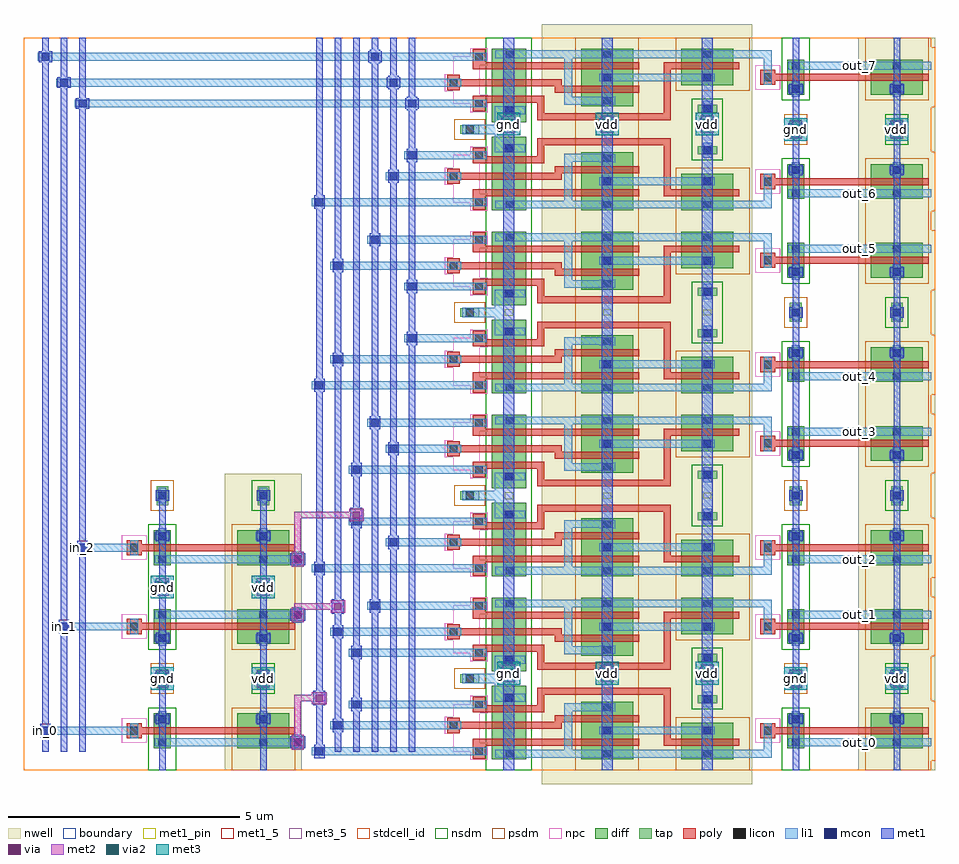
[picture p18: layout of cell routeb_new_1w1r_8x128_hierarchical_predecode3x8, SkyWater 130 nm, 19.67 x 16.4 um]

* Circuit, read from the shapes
.subckt routeb_new_1w1r_8x128_hierarchical_predecode3x8 gnd in_0 in_1 in_2 out_0 out_1 out_2 out_3 out_4 out_5 out_6 out_7 vdd
XM1 gnd in_0 routeb_new_1w1r_8x128_and3_dec_3/A gnd sky130_fd_pr__nfet_01v8 w=0.36 l=0.15
XM2 routeb_new_1w1r_8x128_and3_dec_3/B in_1 gnd gnd sky130_fd_pr__nfet_01v8 w=0.36 l=0.15
XM3 gnd in_2 routeb_new_1w1r_8x128_and3_dec_3/C gnd sky130_fd_pr__nfet_01v8 w=0.36 l=0.15
XM4 n1 routeb_new_1w1r_8x128_and3_dec_3/A routeb_new_1w1r_8x128_and3_dec_3/routeb_new_1w1r_8x128_pinv_dec_1/A gnd sky130_fd_pr__nfet_01v8 w=0.74 l=0.15
XM5 n2 routeb_new_1w1r_8x128_and3_dec_3/B n1 gnd sky130_fd_pr__nfet_01v8 w=0.74 l=0.15
XM6 gnd routeb_new_1w1r_8x128_and3_dec_3/C n2 gnd sky130_fd_pr__nfet_01v8 w=0.74 l=0.15
XM7 n3 routeb_new_1w1r_8x128_and3_dec_3/C gnd gnd sky130_fd_pr__nfet_01v8 w=0.74 l=0.15
XM8 n4 routeb_new_1w1r_8x128_and3_dec_3/B n3 gnd sky130_fd_pr__nfet_01v8 w=0.74 l=0.15
XM9 routeb_new_1w1r_8x128_and3_dec_4/routeb_new_1w1r_8x128_pinv_dec_1/A in_0 n4 gnd sky130_fd_pr__nfet_01v8 w=0.74 l=0.15
XM10 n5 routeb_new_1w1r_8x128_and3_dec_3/A routeb_new_1w1r_8x128_and3_dec_5/routeb_new_1w1r_8x128_pinv_dec_1/A gnd sky130_fd_pr__nfet_01v8 w=0.74 l=0.15
XM11 n6 in_1 n5 gnd sky130_fd_pr__nfet_01v8 w=0.74 l=0.15
XM12 gnd routeb_new_1w1r_8x128_and3_dec_3/C n6 gnd sky130_fd_pr__nfet_01v8 w=0.74 l=0.15
XM13 n7 routeb_new_1w1r_8x128_and3_dec_3/C gnd gnd sky130_fd_pr__nfet_01v8 w=0.74 l=0.15
XM14 n8 in_1 n7 gnd sky130_fd_pr__nfet_01v8 w=0.74 l=0.15
XM15 routeb_new_1w1r_8x128_and3_dec_6/routeb_new_1w1r_8x128_pinv_dec_1/A in_0 n8 gnd sky130_fd_pr__nfet_01v8 w=0.74 l=0.15
XM16 n9 routeb_new_1w1r_8x128_and3_dec_3/A routeb_new_1w1r_8x128_and3_dec_7/routeb_new_1w1r_8x128_pinv_dec_1/A gnd sky130_fd_pr__nfet_01v8 w=0.74 l=0.15
XM17 n10 routeb_new_1w1r_8x128_and3_dec_3/B n9 gnd sky130_fd_pr__nfet_01v8 w=0.74 l=0.15
XM18 gnd in_2 n10 gnd sky130_fd_pr__nfet_01v8 w=0.74 l=0.15
XM19 n11 in_2 gnd gnd sky130_fd_pr__nfet_01v8 w=0.74 l=0.15
XM20 n12 routeb_new_1w1r_8x128_and3_dec_3/B n11 gnd sky130_fd_pr__nfet_01v8 w=0.74 l=0.15
XM21 routeb_new_1w1r_8x128_and3_dec_8/routeb_new_1w1r_8x128_pinv_dec_1/A in_0 n12 gnd sky130_fd_pr__nfet_01v8 w=0.74 l=0.15
XM22 n13 routeb_new_1w1r_8x128_and3_dec_3/A routeb_new_1w1r_8x128_and3_dec_9/routeb_new_1w1r_8x128_pinv_dec_1/A gnd sky130_fd_pr__nfet_01v8 w=0.74 l=0.15
XM23 n14 in_1 n13 gnd sky130_fd_pr__nfet_01v8 w=0.74 l=0.15
XM24 gnd in_2 n14 gnd sky130_fd_pr__nfet_01v8 w=0.74 l=0.15
XM25 n15 in_2 gnd gnd sky130_fd_pr__nfet_01v8 w=0.74 l=0.15
XM26 n16 in_1 n15 gnd sky130_fd_pr__nfet_01v8 w=0.74 l=0.15
XM27 routeb_new_1w1r_8x128_and3_dec_10/routeb_new_1w1r_8x128_pinv_dec_1/A in_0 n16 gnd sky130_fd_pr__nfet_01v8 w=0.74 l=0.15
XM28 gnd routeb_new_1w1r_8x128_and3_dec_3/routeb_new_1w1r_8x128_pinv_dec_1/A out_0 gnd sky130_fd_pr__nfet_01v8 w=0.36 l=0.15
XM29 out_1 routeb_new_1w1r_8x128_and3_dec_4/routeb_new_1w1r_8x128_pinv_dec_1/A gnd gnd sky130_fd_pr__nfet_01v8 w=0.36 l=0.15
XM30 gnd routeb_new_1w1r_8x128_and3_dec_5/routeb_new_1w1r_8x128_pinv_dec_1/A out_2 gnd sky130_fd_pr__nfet_01v8 w=0.36 l=0.15
XM31 out_3 routeb_new_1w1r_8x128_and3_dec_6/routeb_new_1w1r_8x128_pinv_dec_1/A gnd gnd sky130_fd_pr__nfet_01v8 w=0.36 l=0.15
XM32 gnd routeb_new_1w1r_8x128_and3_dec_7/routeb_new_1w1r_8x128_pinv_dec_1/A out_4 gnd sky130_fd_pr__nfet_01v8 w=0.36 l=0.15
XM33 out_5 routeb_new_1w1r_8x128_and3_dec_8/routeb_new_1w1r_8x128_pinv_dec_1/A gnd gnd sky130_fd_pr__nfet_01v8 w=0.36 l=0.15
XM34 gnd routeb_new_1w1r_8x128_and3_dec_9/routeb_new_1w1r_8x128_pinv_dec_1/A out_6 gnd sky130_fd_pr__nfet_01v8 w=0.36 l=0.15
XM35 out_7 routeb_new_1w1r_8x128_and3_dec_10/routeb_new_1w1r_8x128_pinv_dec_1/A gnd gnd sky130_fd_pr__nfet_01v8 w=0.36 l=0.15
XM36 vdd in_0 routeb_new_1w1r_8x128_and3_dec_3/A vdd sky130_fd_pr__pfet_01v8 w=1.12 l=0.15
XM37 routeb_new_1w1r_8x128_and3_dec_3/B in_1 vdd vdd sky130_fd_pr__pfet_01v8 w=1.12 l=0.15
XM38 vdd in_2 routeb_new_1w1r_8x128_and3_dec_3/C vdd sky130_fd_pr__pfet_01v8 w=1.12 l=0.15
XM39 vdd routeb_new_1w1r_8x128_and3_dec_3/A routeb_new_1w1r_8x128_and3_dec_3/routeb_new_1w1r_8x128_pinv_dec_1/A vdd sky130_fd_pr__pfet_01v8 w=1.12 l=0.15
XM40 routeb_new_1w1r_8x128_and3_dec_3/routeb_new_1w1r_8x128_pinv_dec_1/A routeb_new_1w1r_8x128_and3_dec_3/B vdd vdd sky130_fd_pr__pfet_01v8 w=1.12 l=0.15
XM41 vdd routeb_new_1w1r_8x128_and3_dec_3/B routeb_new_1w1r_8x128_and3_dec_4/routeb_new_1w1r_8x128_pinv_dec_1/A vdd sky130_fd_pr__pfet_01v8 w=1.12 l=0.15
XM42 routeb_new_1w1r_8x128_and3_dec_4/routeb_new_1w1r_8x128_pinv_dec_1/A in_0 vdd vdd sky130_fd_pr__pfet_01v8 w=1.12 l=0.15
XM43 vdd routeb_new_1w1r_8x128_and3_dec_3/A routeb_new_1w1r_8x128_and3_dec_5/routeb_new_1w1r_8x128_pinv_dec_1/A vdd sky130_fd_pr__pfet_01v8 w=1.12 l=0.15
XM44 routeb_new_1w1r_8x128_and3_dec_5/routeb_new_1w1r_8x128_pinv_dec_1/A in_1 vdd vdd sky130_fd_pr__pfet_01v8 w=1.12 l=0.15
XM45 vdd in_1 routeb_new_1w1r_8x128_and3_dec_6/routeb_new_1w1r_8x128_pinv_dec_1/A vdd sky130_fd_pr__pfet_01v8 w=1.12 l=0.15
XM46 routeb_new_1w1r_8x128_and3_dec_6/routeb_new_1w1r_8x128_pinv_dec_1/A in_0 vdd vdd sky130_fd_pr__pfet_01v8 w=1.12 l=0.15
XM47 vdd routeb_new_1w1r_8x128_and3_dec_3/A routeb_new_1w1r_8x128_and3_dec_7/routeb_new_1w1r_8x128_pinv_dec_1/A vdd sky130_fd_pr__pfet_01v8 w=1.12 l=0.15
XM48 routeb_new_1w1r_8x128_and3_dec_7/routeb_new_1w1r_8x128_pinv_dec_1/A routeb_new_1w1r_8x128_and3_dec_3/B vdd vdd sky130_fd_pr__pfet_01v8 w=1.12 l=0.15
XM49 vdd routeb_new_1w1r_8x128_and3_dec_3/B routeb_new_1w1r_8x128_and3_dec_8/routeb_new_1w1r_8x128_pinv_dec_1/A vdd sky130_fd_pr__pfet_01v8 w=1.12 l=0.15
XM50 routeb_new_1w1r_8x128_and3_dec_8/routeb_new_1w1r_8x128_pinv_dec_1/A in_0 vdd vdd sky130_fd_pr__pfet_01v8 w=1.12 l=0.15
XM51 vdd routeb_new_1w1r_8x128_and3_dec_3/A routeb_new_1w1r_8x128_and3_dec_9/routeb_new_1w1r_8x128_pinv_dec_1/A vdd sky130_fd_pr__pfet_01v8 w=1.12 l=0.15
XM52 routeb_new_1w1r_8x128_and3_dec_9/routeb_new_1w1r_8x128_pinv_dec_1/A in_1 vdd vdd sky130_fd_pr__pfet_01v8 w=1.12 l=0.15
XM53 vdd in_1 routeb_new_1w1r_8x128_and3_dec_10/routeb_new_1w1r_8x128_pinv_dec_1/A vdd sky130_fd_pr__pfet_01v8 w=1.12 l=0.15
XM54 routeb_new_1w1r_8x128_and3_dec_10/routeb_new_1w1r_8x128_pinv_dec_1/A in_0 vdd vdd sky130_fd_pr__pfet_01v8 w=1.12 l=0.15
XM55 vdd routeb_new_1w1r_8x128_and3_dec_3/C routeb_new_1w1r_8x128_and3_dec_3/routeb_new_1w1r_8x128_pinv_dec_1/A vdd sky130_fd_pr__pfet_01v8 w=1.12 l=0.15
XM56 routeb_new_1w1r_8x128_and3_dec_4/routeb_new_1w1r_8x128_pinv_dec_1/A routeb_new_1w1r_8x128_and3_dec_3/C vdd vdd sky130_fd_pr__pfet_01v8 w=1.12 l=0.15
XM57 vdd routeb_new_1w1r_8x128_and3_dec_3/C routeb_new_1w1r_8x128_and3_dec_5/routeb_new_1w1r_8x128_pinv_dec_1/A vdd sky130_fd_pr__pfet_01v8 w=1.12 l=0.15
XM58 routeb_new_1w1r_8x128_and3_dec_6/routeb_new_1w1r_8x128_pinv_dec_1/A routeb_new_1w1r_8x128_and3_dec_3/C vdd vdd sky130_fd_pr__pfet_01v8 w=1.12 l=0.15
XM59 vdd in_2 routeb_new_1w1r_8x128_and3_dec_7/routeb_new_1w1r_8x128_pinv_dec_1/A vdd sky130_fd_pr__pfet_01v8 w=1.12 l=0.15
XM60 routeb_new_1w1r_8x128_and3_dec_8/routeb_new_1w1r_8x128_pinv_dec_1/A in_2 vdd vdd sky130_fd_pr__pfet_01v8 w=1.12 l=0.15
XM61 vdd in_2 routeb_new_1w1r_8x128_and3_dec_9/routeb_new_1w1r_8x128_pinv_dec_1/A vdd sky130_fd_pr__pfet_01v8 w=1.12 l=0.15
XM62 routeb_new_1w1r_8x128_and3_dec_10/routeb_new_1w1r_8x128_pinv_dec_1/A in_2 vdd vdd sky130_fd_pr__pfet_01v8 w=1.12 l=0.15
XM63 vdd routeb_new_1w1r_8x128_and3_dec_3/routeb_new_1w1r_8x128_pinv_dec_1/A out_0 vdd sky130_fd_pr__pfet_01v8 w=1.12 l=0.15
XM64 out_1 routeb_new_1w1r_8x128_and3_dec_4/routeb_new_1w1r_8x128_pinv_dec_1/A vdd vdd sky130_fd_pr__pfet_01v8 w=1.12 l=0.15
XM65 vdd routeb_new_1w1r_8x128_and3_dec_5/routeb_new_1w1r_8x128_pinv_dec_1/A out_2 vdd sky130_fd_pr__pfet_01v8 w=1.12 l=0.15
XM66 out_3 routeb_new_1w1r_8x128_and3_dec_6/routeb_new_1w1r_8x128_pinv_dec_1/A vdd vdd sky130_fd_pr__pfet_01v8 w=1.12 l=0.15
XM67 vdd routeb_new_1w1r_8x128_and3_dec_7/routeb_new_1w1r_8x128_pinv_dec_1/A out_4 vdd sky130_fd_pr__pfet_01v8 w=1.12 l=0.15
XM68 out_5 routeb_new_1w1r_8x128_and3_dec_8/routeb_new_1w1r_8x128_pinv_dec_1/A vdd vdd sky130_fd_pr__pfet_01v8 w=1.12 l=0.15
XM69 vdd routeb_new_1w1r_8x128_and3_dec_9/routeb_new_1w1r_8x128_pinv_dec_1/A out_6 vdd sky130_fd_pr__pfet_01v8 w=1.12 l=0.15
XM70 out_7 routeb_new_1w1r_8x128_and3_dec_10/routeb_new_1w1r_8x128_pinv_dec_1/A vdd vdd sky130_fd_pr__pfet_01v8 w=1.12 l=0.15
.ends

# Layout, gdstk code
from math import pi, radians
import gdstk
lib = gdstk.Library(unit=1e-6, precision=1e-09)
def R(c, l, rs):  # rectangles x0, y0, x1, y1
    for r in rs: c.add(gdstk.rectangle(r[:2], r[2:], *l))
def A(c, l, x, y, w, h, nx, ny, dx, dy):  # array of equal rectangles
    R(c, l, [(x+i*dx, y+j*dy, x+i*dx+w, y+j*dy+h) for i in range(nx) for j in range(ny)])
nwell = (64, 20)
diff = (65, 20)
tap = (65, 44)
poly = (66, 20)
licon = (66, 44)
li1 = (67, 20)
mcon = (67, 44)
met1_5 = (68, 5)
met1_pin = (68, 16)
met1 = (68, 20)
via = (68, 44)
met2 = (69, 20)
via2 = (69, 44)
met3_5 = (70, 5)
met3 = (70, 20)
stdcell_id = (81, 4)
nsdm = (93, 44)
psdm = (94, 20)
npc = (95, 20)
boundary = (235, 4)

routeb_new_1w1r_8x128_co = lib.new_cell('routeb_new_1w1r_8x128_contact_11')
R(routeb_new_1w1r_8x128_co, nwell, [(-0.295,-0.255,0.545,0.585)])
R(routeb_new_1w1r_8x128_co, diff, [(0,0.02,0.25,0.31)])
R(routeb_new_1w1r_8x128_co, licon, [(0.04,0.08,0.21,0.25)])
R(routeb_new_1w1r_8x128_co, li1, [(0.04,0,0.21,0.33)])
R(routeb_new_1w1r_8x128_co, stdcell_id, [(-0.295,-0.255,0.545,0.585)])
R(routeb_new_1w1r_8x128_co, psdm, [(-0.125,-0.105,0.375,0.435)])
R(routeb_new_1w1r_8x128_co, boundary, [(-0.295,-0.255,0.545,0.585)])

routeb_new_1w1r_8x128_pm = lib.new_cell('routeb_new_1w1r_8x128_pmos_m1_w1_120_sli_dli_da_p')
R(routeb_new_1w1r_8x128_pm, nwell, [(-0.27,-0.27,1.02,1.39)])
R(routeb_new_1w1r_8x128_pm, diff, [(0,0,0.75,1.12)])
R(routeb_new_1w1r_8x128_pm, poly, [(0.3,-0.13,0.45,1.25), (0.3,-0.13,0.45,1.25)])
R(routeb_new_1w1r_8x128_pm, li1, [(0.04,0.395,0.21,0.725), (0.54,0.395,0.71,0.725)])
R(routeb_new_1w1r_8x128_pm, stdcell_id, [(-0.27,-0.27,1.02,1.39)])
R(routeb_new_1w1r_8x128_pm, psdm, [(-0.125,-0.125,0.875,1.245)])
R(routeb_new_1w1r_8x128_pm, boundary, [(-0.27,-0.27,1.02,1.39)])
routeb_new_1w1r_8x128_pm.add(gdstk.Reference(routeb_new_1w1r_8x128_co, (0,0.395)))
routeb_new_1w1r_8x128_pm.add(gdstk.Reference(routeb_new_1w1r_8x128_co, (0.5,0.395)))
routeb_new_1w1r_8x128_pm.add(gdstk.Label('G', (0.375,0.56), layer=66, texttype=5))
routeb_new_1w1r_8x128_pm.add(gdstk.Label('S', (0.125,0.56), layer=67, texttype=5))
routeb_new_1w1r_8x128_pm.add(gdstk.Label('D', (0.625,0.56), layer=67, texttype=5))

c_routeb_new_1w1r_8x128_co = lib.new_cell('routeb_new_1w1r_8x128_contact_10')
R(c_routeb_new_1w1r_8x128_co, diff, [(0,0.02,0.25,0.31)])
R(c_routeb_new_1w1r_8x128_co, licon, [(0.04,0.08,0.21,0.25)])
R(c_routeb_new_1w1r_8x128_co, li1, [(0.04,0,0.21,0.33)])
R(c_routeb_new_1w1r_8x128_co, stdcell_id, [(-0.125,-0.105,0.375,0.435)])
R(c_routeb_new_1w1r_8x128_co, nsdm, [(-0.125,-0.105,0.375,0.435)])
R(c_routeb_new_1w1r_8x128_co, boundary, [(-0.125,-0.105,0.375,0.435)])

routeb_new_1w1r_8x128_nm = lib.new_cell('routeb_new_1w1r_8x128_nmos_m1_w0_360_sli_dli_da_p')
R(routeb_new_1w1r_8x128_nm, diff, [(0,0,0.75,0.36)])
R(routeb_new_1w1r_8x128_nm, poly, [(0.3,-0.13,0.45,0.49), (0.3,-0.13,0.45,0.49)])
R(routeb_new_1w1r_8x128_nm, li1, [(0.04,0.015,0.21,0.345), (0.54,0.015,0.71,0.345)])
R(routeb_new_1w1r_8x128_nm, stdcell_id, [(-0.125,-0.13,0.875,0.49)])
R(routeb_new_1w1r_8x128_nm, nsdm, [(-0.125,-0.125,0.875,0.485)])
R(routeb_new_1w1r_8x128_nm, boundary, [(-0.125,-0.13,0.875,0.49)])
routeb_new_1w1r_8x128_nm.add(gdstk.Reference(c_routeb_new_1w1r_8x128_co, (0,0.015)))
routeb_new_1w1r_8x128_nm.add(gdstk.Reference(c_routeb_new_1w1r_8x128_co, (0.5,0.015)))
routeb_new_1w1r_8x128_nm.add(gdstk.Label('G', (0.375,0.18), layer=66, texttype=5))
routeb_new_1w1r_8x128_nm.add(gdstk.Label('S', (0.125,0.18), layer=67, texttype=5))
routeb_new_1w1r_8x128_nm.add(gdstk.Label('D', (0.625,0.18), layer=67, texttype=5))

c_routeb_new_1w1r_8x128_co_ = lib.new_cell('routeb_new_1w1r_8x128_contact_12')
R(c_routeb_new_1w1r_8x128_co_, nwell, [(-0.295,-0.215,0.545,0.625)])
R(c_routeb_new_1w1r_8x128_co_, tap, [(0,0,0.25,0.41)])
R(c_routeb_new_1w1r_8x128_co_, licon, [(0.04,0.12,0.21,0.29)])
R(c_routeb_new_1w1r_8x128_co_, li1, [(0.04,0.04,0.21,0.37)])
R(c_routeb_new_1w1r_8x128_co_, stdcell_id, [(-0.295,-0.215,0.545,0.625)])
R(c_routeb_new_1w1r_8x128_co_, nsdm, [(-0.125,-0.125,0.375,0.535)])
R(c_routeb_new_1w1r_8x128_co_, boundary, [(-0.295,-0.215,0.545,0.625)])

c_routeb_new_1w1r_8x128_co__ = lib.new_cell('routeb_new_1w1r_8x128_contact_13')
R(c_routeb_new_1w1r_8x128_co__, li1, [(0.06,0,0.23,0.33)])
R(c_routeb_new_1w1r_8x128_co__, mcon, [(0.06,0.08,0.23,0.25)])
R(c_routeb_new_1w1r_8x128_co__, met1, [(0,0.05,0.29,0.28)])
R(c_routeb_new_1w1r_8x128_co__, stdcell_id, [(0,0,0.29,0.33)])
R(c_routeb_new_1w1r_8x128_co__, boundary, [(0,0,0.29,0.33)])

c_routeb_new_1w1r_8x128_co___ = lib.new_cell('routeb_new_1w1r_8x128_contact_14')
R(c_routeb_new_1w1r_8x128_co___, tap, [(0,0,0.25,0.41)])
R(c_routeb_new_1w1r_8x128_co___, licon, [(0.04,0.12,0.21,0.29)])
R(c_routeb_new_1w1r_8x128_co___, li1, [(0.04,0.04,0.21,0.37)])
R(c_routeb_new_1w1r_8x128_co___, stdcell_id, [(-0.125,-0.125,0.375,0.535)])
R(c_routeb_new_1w1r_8x128_co___, psdm, [(-0.125,-0.125,0.375,0.535)])
R(c_routeb_new_1w1r_8x128_co___, boundary, [(-0.125,-0.125,0.375,0.535)])

c_routeb_new_1w1r_8x128_co____ = lib.new_cell('routeb_new_1w1r_8x128_contact_15')
R(c_routeb_new_1w1r_8x128_co____, poly, [(0,0,0.33,0.33)])
R(c_routeb_new_1w1r_8x128_co____, licon, [(0.08,0.08,0.25,0.25)])
R(c_routeb_new_1w1r_8x128_co____, li1, [(0.08,0,0.25,0.33)])
R(c_routeb_new_1w1r_8x128_co____, stdcell_id, [(-0.1,-0.1,0.43,0.43)])
R(c_routeb_new_1w1r_8x128_co____, npc, [(-0.1,-0.1,0.43,0.43)])
R(c_routeb_new_1w1r_8x128_co____, boundary, [(-0.1,-0.1,0.43,0.43)])

routeb_new_1w1r_8x128_pi = lib.new_cell('routeb_new_1w1r_8x128_pinv_dec')
R(routeb_new_1w1r_8x128_pi, nwell, [(2.34,0,4,2.45)])
R(routeb_new_1w1r_8x128_pi, poly, [(0.385,0.775,0.68,0.925), (1.3,0.775,2.48,0.925)])
R(routeb_new_1w1r_8x128_pi, li1, [(0.825,0.515,3.91,0.685), (0.3,0.685,0.47,1.015)])
R(routeb_new_1w1r_8x128_pi, met1_5, [(0.92,0,1.06,1.975), (3.1,0,3.24,1.975)])
R(routeb_new_1w1r_8x128_pi, met1, [(0.92,0,1.06,1.975), (3.1,0,3.24,1.975)])
R(routeb_new_1w1r_8x128_pi, stdcell_id, [(0,0,3.91,1.975), (0,0,3.91,1.975)])
R(routeb_new_1w1r_8x128_pi, nsdm, [(0.685,0,1.295,1.225)])
R(routeb_new_1w1r_8x128_pi, psdm, [(2.485,0,3.855,1.225)])
R(routeb_new_1w1r_8x128_pi, boundary, [(0,0,3.91,1.975), (0,0,3.91,1.975)])
routeb_new_1w1r_8x128_pi.add(gdstk.Reference(routeb_new_1w1r_8x128_pm, (2.61,1.225), rotation=3*pi/2))
routeb_new_1w1r_8x128_pi.add(gdstk.Reference(routeb_new_1w1r_8x128_nm, (0.81,1.225), rotation=3*pi/2))
routeb_new_1w1r_8x128_pi.add(gdstk.Reference(c_routeb_new_1w1r_8x128_co_, (3.045,1.77)))
routeb_new_1w1r_8x128_pi.add(gdstk.Reference(c_routeb_new_1w1r_8x128_co__, (3.025,1.81)))
routeb_new_1w1r_8x128_pi.add(gdstk.Reference(c_routeb_new_1w1r_8x128_co___, (0.865,1.77)))
routeb_new_1w1r_8x128_pi.add(gdstk.Reference(c_routeb_new_1w1r_8x128_co__, (0.845,1.81)))
routeb_new_1w1r_8x128_pi.add(gdstk.Reference(c_routeb_new_1w1r_8x128_co____, (0.22,0.685)))
routeb_new_1w1r_8x128_pi.add(gdstk.Reference(c_routeb_new_1w1r_8x128_co__, (0.845,0.935)))
routeb_new_1w1r_8x128_pi.add(gdstk.Reference(c_routeb_new_1w1r_8x128_co__, (3.025,0.935)))
routeb_new_1w1r_8x128_pi.add(gdstk.Label('A', (0.385,0.85), layer=67, texttype=5))
routeb_new_1w1r_8x128_pi.add(gdstk.Label('Z', (2.368,0.6), layer=67, texttype=5))
routeb_new_1w1r_8x128_pi.add(gdstk.Label('gnd', (0.99,0.988), layer=68, texttype=5))
routeb_new_1w1r_8x128_pi.add(gdstk.Label('vdd', (3.17,0.988), layer=68, texttype=5))

sky130_fd_bd_sram__openr = lib.new_cell('sky130_fd_bd_sram__openram_dp_nand3_dec')
R(sky130_fd_bd_sram__openr, nwell, [(2.07,-0.3,6.61,2.37)])
R(sky130_fd_bd_sram__openr, diff, [(0.99,0.23,1.73,1.82), (2.92,0.23,4.04,1.48), (5.08,0.23,6.2,1.02)])
R(sky130_fd_bd_sram__openr, tap, [(5.43,1.44,5.85,1.61), (0.31,1.885,0.72,2.07)])
R(sky130_fd_bd_sram__openr, poly, [(0.58,0.24,0.85,0.53), (0.58,0.53,4.17,0.68), (4.7,0.53,6.33,0.68), (4.7,0.68,4.85,1.63), (0.03,0.8,0.3,0.89), (0.03,0.89,2.5,1.03), (0.03,1.03,4.17,1.04), (0.03,1.04,0.3,1.13), (2.35,1.04,4.17,1.18), (0.58,1.25,2.12,1.4), (0.58,1.4,0.85,1.58), (1.97,1.4,2.12,1.63), (1.97,1.63,4.85,1.78)])
A(sky130_fd_bd_sram__openr, licon, 3.395, 0.27, 0.17, 0.17, 1, 3, 0, 0.5)
R(sky130_fd_bd_sram__openr, licon, [(1.295,0.27,1.465,0.44), (5.555,0.27,5.725,0.44), (0.63,0.32,0.8,0.49), (5.555,0.77,5.725,0.94), (0.08,0.88,0.25,1.05), (0.63,1.33,0.8,1.5), (5.55,1.44,5.72,1.61), (1.305,1.48,1.475,1.65), (0.43,1.89,0.6,2.06)])
R(sky130_fd_bd_sram__openr, li1, [(1.06,0.27,6.61,0.44), (1.06,0.27,6.61,0.44), (0.55,0.32,0.88,0.49), (0.55,0.32,0.88,0.49), (2.555,0.44,2.725,1.275), (3.31,0.77,5.805,0.94), (0,0.88,0.33,1.05), (0,0.88,0.33,1.05), (3.31,1.27,3.65,1.275), (2.555,1.275,3.65,1.44), (0.55,1.33,0.88,1.5), (0.55,1.33,0.88,1.5), (5.55,1.36,5.74,1.69), (2.555,1.44,3.435,1.445), (1.05,1.48,1.71,1.65), (1.05,1.65,1.25,1.885), (0.35,1.885,1.25,2.075)])
R(sky130_fd_bd_sram__openr, mcon, [(3.395,0.77,3.565,0.94), (5.555,0.77,5.725,0.94), (5.555,1.44,5.725,1.61), (1.27,1.48,1.44,1.65)])
R(sky130_fd_bd_sram__openr, met1_5, [(1.24,0,1.47,2.09), (3.36,0,3.6,2.09), (5.52,0,5.76,2.09)])
R(sky130_fd_bd_sram__openr, met1_pin, [(1.27,1.9,1.45,1.99), (3.39,1.91,3.57,2), (5.55,1.94,5.73,2.03)])
R(sky130_fd_bd_sram__openr, met1, [(1.24,0,1.47,2.09), (1.24,0,1.47,2.09), (3.36,0,3.6,2.09), (3.36,0,3.6,2.09), (5.52,0,5.76,2.09), (5.52,0,5.76,2.09)])
R(sky130_fd_bd_sram__openr, nsdm, [(0.865,0,1.855,1.975), (5.305,1.315,5.975,1.975)])
R(sky130_fd_bd_sram__openr, psdm, [(2.795,0,4.165,1.975), (4.955,0,6.56,1.145), (0.185,1.76,0.845,2.195)])
R(sky130_fd_bd_sram__openr, npc, [(0.53,0.22,0.9,0.395), (0.155,0.395,0.9,0.59), (0.155,0.59,0.725,0.78), (-0.02,0.78,0.725,1.15), (0.155,1.15,0.725,1.23), (0.155,1.23,0.9,1.425), (0.53,1.425,0.9,1.6)])
R(sky130_fd_bd_sram__openr, boundary, [(0,0,6.56,1.975)])
sky130_fd_bd_sram__openr.add(gdstk.Label('VDD', (3.48,1.955), layer=68, texttype=16))
sky130_fd_bd_sram__openr.add(gdstk.Label('VDD', (5.64,1.985), layer=68, texttype=16))
sky130_fd_bd_sram__openr.add(gdstk.Label('GND', (1.36,1.945), layer=68, texttype=16))
sky130_fd_bd_sram__openr.add(gdstk.Label('C', (0.7,1.42), layer=67, texttype=16))
sky130_fd_bd_sram__openr.add(gdstk.Label('Z', (6.47,0.355), layer=67, texttype=16))
sky130_fd_bd_sram__openr.add(gdstk.Label('B', (0.15,0.98), layer=67, texttype=16))
sky130_fd_bd_sram__openr.add(gdstk.Label('A', (0.7,0.42), layer=67, texttype=16))
sky130_fd_bd_sram__openr.add(gdstk.Label('A', (0.715,0.405), layer=67, texttype=5))
sky130_fd_bd_sram__openr.add(gdstk.Label('B', (0.165,0.965), layer=67, texttype=5))
sky130_fd_bd_sram__openr.add(gdstk.Label('C', (0.715,1.415), layer=67, texttype=5))
sky130_fd_bd_sram__openr.add(gdstk.Label('Z', (3.835,0.355), layer=67, texttype=5))
sky130_fd_bd_sram__openr.add(gdstk.Label('vdd', (3.48,1.045), layer=68, texttype=5))
sky130_fd_bd_sram__openr.add(gdstk.Label('vdd', (5.64,1.045), layer=68, texttype=5))
sky130_fd_bd_sram__openr.add(gdstk.Label('gnd', (1.355,1.045), layer=68, texttype=5))

routeb_new_1w1r_8x128_an = lib.new_cell('routeb_new_1w1r_8x128_and3_dec')
R(routeb_new_1w1r_8x128_an, li1, [(3.835,0.27,6.945,0.44), (6.86,0.27,7.03,0.44), (0.55,0.32,0.88,0.49), (6.86,0.355,7.03,0.85), (7.385,0.515,10.47,0.685), (0,0.88,0.33,1.05), (0.55,1.33,0.88,1.5)])
R(routeb_new_1w1r_8x128_an, met1_5, [(1.24,0,1.47,2.09), (3.36,0,3.6,2.09), (5.52,0,5.76,2.09), (7.48,0,7.62,1.975), (9.66,0,9.8,1.975)])
R(routeb_new_1w1r_8x128_an, met1, [(1.24,0,1.47,2.09), (3.36,0,3.6,2.09), (5.52,0,5.76,2.09), (7.48,0,7.62,1.975), (9.66,0,9.8,1.975)])
R(routeb_new_1w1r_8x128_an, stdcell_id, [(0,0,10.47,1.975)])
R(routeb_new_1w1r_8x128_an, boundary, [(0,0,10.47,1.975)])
routeb_new_1w1r_8x128_an.add(gdstk.Reference(sky130_fd_bd_sram__openr, (0,0)))
routeb_new_1w1r_8x128_an.add(gdstk.Reference(routeb_new_1w1r_8x128_pi, (6.56,0)))
routeb_new_1w1r_8x128_an.add(gdstk.Label('Z', (8.928,0.6), layer=67, texttype=5))
routeb_new_1w1r_8x128_an.add(gdstk.Label('A', (0.715,0.405), layer=67, texttype=5))
routeb_new_1w1r_8x128_an.add(gdstk.Label('B', (0.165,0.965), layer=67, texttype=5))
routeb_new_1w1r_8x128_an.add(gdstk.Label('C', (0.715,1.415), layer=67, texttype=5))
routeb_new_1w1r_8x128_an.add(gdstk.Label('vdd', (5.64,1.045), layer=68, texttype=5))
routeb_new_1w1r_8x128_an.add(gdstk.Label('vdd', (9.73,0.988), layer=68, texttype=5))
routeb_new_1w1r_8x128_an.add(gdstk.Label('vdd', (3.48,1.045), layer=68, texttype=5))
routeb_new_1w1r_8x128_an.add(gdstk.Label('gnd', (7.55,0.988), layer=68, texttype=5))
routeb_new_1w1r_8x128_an.add(gdstk.Label('gnd', (1.355,1.045), layer=68, texttype=5))

c_routeb_new_1w1r_8x128_co_____ = lib.new_cell('routeb_new_1w1r_8x128_contact_16')
R(c_routeb_new_1w1r_8x128_co_____, li1, [(0,0.06,0.33,0.23)])
R(c_routeb_new_1w1r_8x128_co_____, mcon, [(0.08,0.06,0.25,0.23)])
R(c_routeb_new_1w1r_8x128_co_____, met1, [(0.05,0,0.28,0.29)])
R(c_routeb_new_1w1r_8x128_co_____, stdcell_id, [(0,0,0.33,0.29)])
R(c_routeb_new_1w1r_8x128_co_____, boundary, [(0,0,0.33,0.29)])

c_routeb_new_1w1r_8x128_co______ = lib.new_cell('routeb_new_1w1r_8x128_contact_18')
R(c_routeb_new_1w1r_8x128_co______, met1, [(0,0.03,0.32,0.29)])
R(c_routeb_new_1w1r_8x128_co______, via, [(0.085,0.085,0.235,0.235)])
R(c_routeb_new_1w1r_8x128_co______, met2, [(0.03,0,0.29,0.32)])
R(c_routeb_new_1w1r_8x128_co______, stdcell_id, [(0,0,0.32,0.32)])
R(c_routeb_new_1w1r_8x128_co______, boundary, [(0,0,0.32,0.32)])

c_routeb_new_1w1r_8x128_co_______ = lib.new_cell('routeb_new_1w1r_8x128_contact_19')
R(c_routeb_new_1w1r_8x128_co_______, met1, [(0.03,0,0.29,0.32)])
R(c_routeb_new_1w1r_8x128_co_______, via, [(0.085,0.085,0.235,0.235)])
R(c_routeb_new_1w1r_8x128_co_______, met2, [(0,0.03,0.32,0.29)])
R(c_routeb_new_1w1r_8x128_co_______, stdcell_id, [(0,0,0.32,0.32)])
R(c_routeb_new_1w1r_8x128_co_______, boundary, [(0,0,0.32,0.32)])

c_routeb_new_1w1r_8x128_co________ = lib.new_cell('routeb_new_1w1r_8x128_contact_20')
R(c_routeb_new_1w1r_8x128_co________, li1, [(0,0.03,0.33,0.2)])
R(c_routeb_new_1w1r_8x128_co________, mcon, [(0.08,0.03,0.25,0.2)])
R(c_routeb_new_1w1r_8x128_co________, met1, [(0.02,0,0.31,0.23)])
R(c_routeb_new_1w1r_8x128_co________, stdcell_id, [(0,0,0.33,0.23)])
R(c_routeb_new_1w1r_8x128_co________, boundary, [(0,0,0.33,0.23)])

c_routeb_new_1w1r_8x128_co_________ = lib.new_cell('routeb_new_1w1r_8x128_contact_21')
R(c_routeb_new_1w1r_8x128_co_________, met2, [(0.025,0,0.305,0.37)])
R(c_routeb_new_1w1r_8x128_co_________, via2, [(0.065,0.085,0.265,0.285)])
R(c_routeb_new_1w1r_8x128_co_________, met3, [(0,0.02,0.33,0.35)])
R(c_routeb_new_1w1r_8x128_co_________, stdcell_id, [(0,0,0.33,0.37)])
R(c_routeb_new_1w1r_8x128_co_________, boundary, [(0,0,0.33,0.37)])

routeb_new_1w1r_8x128_hi = lib.new_cell('routeb_new_1w1r_8x128_hierarchical_predecode3x8')
A(routeb_new_1w1r_8x128_hi, li1, 6.38, 0.32, 3.445, 0.17, 1, 4, 0, 3.95)
A(routeb_new_1w1r_8x128_hi, li1, 7.58, 3.46, 2.245, 0.17, 1, 4, 0, 3.95)
R(routeb_new_1w1r_8x128_hi, li1, [(9.74,0.32,9.91,0.49), (16.495,0.515,19.58,0.685), (0.47,0.765,2.385,0.935), (2.3,0.765,2.47,0.935), (6.78,0.88,9.275,1.05), (9.19,0.88,9.36,1.05), (7.18,1.33,9.825,1.5), (9.74,1.33,9.91,1.5), (7.18,2.45,9.825,2.62), (9.74,2.45,9.91,2.62), (6.78,2.9,9.275,3.07), (9.19,2.9,9.36,3.07), (0.87,3.015,2.385,3.185), (2.3,3.015,2.47,3.185), (16.495,3.265,19.58,3.435), (9.74,3.46,9.91,3.63), (9.74,4.27,9.91,4.44), (16.495,4.465,19.58,4.635), (1.27,4.715,2.385,4.885), (2.3,4.715,2.47,4.885), (7.98,4.83,9.275,5), (9.19,4.83,9.36,5), (7.18,5.28,9.825,5.45), (9.74,5.28,9.91,5.45), (7.18,6.4,9.825,6.57), (9.74,6.4,9.91,6.57), (7.98,6.85,9.275,7.02), (9.19,6.85,9.36,7.02), (16.495,7.215,19.58,7.385), (9.74,7.41,9.91,7.58), (9.74,8.22,9.91,8.39), (16.495,8.415,19.58,8.585), (6.78,8.78,9.275,8.95), (9.19,8.78,9.36,8.95), (8.38,9.23,9.825,9.4), (9.74,9.23,9.91,9.4), (8.38,10.35,9.825,10.52), (9.74,10.35,9.91,10.52), (6.78,10.8,9.275,10.97), (9.19,10.8,9.36,10.97), (16.495,11.165,19.58,11.335), (9.74,11.36,9.91,11.53), (9.74,12.17,9.91,12.34), (16.495,12.365,19.58,12.535), (7.98,12.73,9.275,12.9), (9.19,12.73,9.36,12.9), (8.38,13.18,9.825,13.35), (9.74,13.18,9.91,13.35), (1.27,14.3,8.38,14.47), (8.38,14.3,9.825,14.47), (9.74,14.3,9.91,14.47), (0.87,14.75,7.98,14.92), (7.98,14.75,9.275,14.92), (9.19,14.75,9.36,14.92), (16.495,15.115,19.58,15.285), (0.47,15.31,7.58,15.48), (9.74,15.31,9.91,15.48)])
R(routeb_new_1w1r_8x128_hi, met1_5, [(0.355,0.705,0.585,0.995), (0.755,2.955,0.985,3.245), (1.155,4.655,1.385,4.945)])
A(routeb_new_1w1r_8x128_hi, met1, 0.4, 0.4, 0.14, 15.4, 3, 1, 0.4, 0)
A(routeb_new_1w1r_8x128_hi, met1, 6.31, 0.4, 0.14, 15.4, 6, 1, 0.4, 0)
R(routeb_new_1w1r_8x128_hi, met1, [(2.92,0.4,3.06,5.925), (5.1,0.4,5.24,5.925), (10.35,0.4,10.58,15.8), (12.47,0.4,12.71,15.8), (14.63,0.4,14.87,15.8), (16.59,0.4,16.73,15.8), (18.77,0.4,18.91,15.8), (5.75,0.47,6.07,0.73), (0.355,0.705,0.585,0.995), (0.755,2.955,0.985,3.245), (5.75,3.22,6.07,3.48), (5.75,4.42,6.07,4.68), (1.155,4.655,1.385,4.945)])
A(routeb_new_1w1r_8x128_hi, met2, 5.84, 1.485, 0.14, 0.14, 1, 3, 0, 1.975)
R(routeb_new_1w1r_8x128_hi, met2, [(5.84,0.6,5.98,1.555), (5.91,1.485,6.38,1.625), (2.85,1.85,3.13,2.095), (5.03,1.85,5.31,2.095), (16.52,1.85,16.8,2.095), (18.7,1.85,18.98,2.095), (10.325,1.97,10.605,2.215), (12.45,1.97,12.73,2.215), (14.61,1.97,14.89,2.215), (5.84,3.35,5.98,3.53), (5.91,3.46,6.78,3.6), (2.85,3.83,3.13,4.075), (5.03,3.83,5.31,4.075), (5.84,4.55,5.98,5.505), (5.91,5.435,7.18,5.575), (16.52,13.7,16.8,13.945), (18.7,13.7,18.98,13.945), (10.325,13.82,10.605,14.065), (12.45,13.82,12.73,14.065), (14.61,13.82,14.89,14.065)])
R(routeb_new_1w1r_8x128_hi, met3_5, [(2.745,1.73,3.235,2.22), (4.925,1.73,5.415,2.22), (16.415,1.73,16.905,2.22), (18.595,1.73,19.085,2.22), (10.22,1.845,10.71,2.335), (12.345,1.845,12.835,2.335), (14.505,1.845,14.995,2.335), (2.745,3.705,3.235,4.195), (4.925,3.705,5.415,4.195), (16.415,13.58,16.905,14.07), (18.595,13.58,19.085,14.07), (10.22,13.695,10.71,14.185), (12.345,13.695,12.835,14.185), (14.505,13.695,14.995,14.185)])
R(routeb_new_1w1r_8x128_hi, met3, [(2.745,1.73,3.235,2.22), (4.925,1.73,5.415,2.22), (16.415,1.73,16.905,2.22), (18.595,1.73,19.085,2.22), (10.22,1.845,10.71,2.335), (12.345,1.845,12.835,2.335), (14.505,1.845,14.995,2.335), (2.745,3.705,3.235,4.195), (4.925,3.705,5.415,4.195), (16.415,13.58,16.905,14.07), (18.595,13.58,19.085,14.07), (10.22,13.695,10.71,14.185), (12.345,13.695,12.835,14.185), (14.505,13.695,14.995,14.185)])
R(routeb_new_1w1r_8x128_hi, stdcell_id, [(0,0,19.58,15.8)])
R(routeb_new_1w1r_8x128_hi, boundary, [(0,0,19.58,15.8)])
routeb_new_1w1r_8x128_hi.add(gdstk.Reference(routeb_new_1w1r_8x128_pi, (2,0)))
routeb_new_1w1r_8x128_hi.add(gdstk.Reference(routeb_new_1w1r_8x128_pi, (2,3.95), x_reflection=True))
routeb_new_1w1r_8x128_hi.add(gdstk.Reference(routeb_new_1w1r_8x128_pi, (2,3.95)))
routeb_new_1w1r_8x128_hi.add(gdstk.Reference(routeb_new_1w1r_8x128_an, (9.11,0)))
routeb_new_1w1r_8x128_hi.add(gdstk.Reference(routeb_new_1w1r_8x128_an, (9.11,3.95), x_reflection=True))
routeb_new_1w1r_8x128_hi.add(gdstk.Reference(routeb_new_1w1r_8x128_an, (9.11,3.95)))
routeb_new_1w1r_8x128_hi.add(gdstk.Reference(routeb_new_1w1r_8x128_an, (9.11,7.9), x_reflection=True))
routeb_new_1w1r_8x128_hi.add(gdstk.Reference(routeb_new_1w1r_8x128_an, (9.11,7.9)))
routeb_new_1w1r_8x128_hi.add(gdstk.Reference(routeb_new_1w1r_8x128_an, (9.11,11.85), x_reflection=True))
routeb_new_1w1r_8x128_hi.add(gdstk.Reference(routeb_new_1w1r_8x128_an, (9.11,11.85)))
routeb_new_1w1r_8x128_hi.add(gdstk.Reference(routeb_new_1w1r_8x128_an, (9.11,15.8), x_reflection=True))
routeb_new_1w1r_8x128_hi.add(gdstk.Reference(c_routeb_new_1w1r_8x128_co_____, (0.305,0.705)))
routeb_new_1w1r_8x128_hi.add(gdstk.Reference(c_routeb_new_1w1r_8x128_co_____, (0.705,2.955)))
routeb_new_1w1r_8x128_hi.add(gdstk.Reference(c_routeb_new_1w1r_8x128_co_____, (1.105,4.655)))
routeb_new_1w1r_8x128_hi.add(gdstk.Reference(c_routeb_new_1w1r_8x128_co_____, (6.215,0.26)))
routeb_new_1w1r_8x128_hi.add(gdstk.Reference(c_routeb_new_1w1r_8x128_co_____, (6.615,0.82)))
routeb_new_1w1r_8x128_hi.add(gdstk.Reference(c_routeb_new_1w1r_8x128_co_____, (7.015,1.27)))
routeb_new_1w1r_8x128_hi.add(gdstk.Reference(c_routeb_new_1w1r_8x128_co_____, (7.415,3.4)))
routeb_new_1w1r_8x128_hi.add(gdstk.Reference(c_routeb_new_1w1r_8x128_co_____, (6.615,2.84)))
routeb_new_1w1r_8x128_hi.add(gdstk.Reference(c_routeb_new_1w1r_8x128_co_____, (7.015,2.39)))
routeb_new_1w1r_8x128_hi.add(gdstk.Reference(c_routeb_new_1w1r_8x128_co_____, (6.215,4.21)))
routeb_new_1w1r_8x128_hi.add(gdstk.Reference(c_routeb_new_1w1r_8x128_co_____, (7.815,4.77)))
routeb_new_1w1r_8x128_hi.add(gdstk.Reference(c_routeb_new_1w1r_8x128_co_____, (7.015,5.22)))
routeb_new_1w1r_8x128_hi.add(gdstk.Reference(c_routeb_new_1w1r_8x128_co_____, (7.415,7.35)))
routeb_new_1w1r_8x128_hi.add(gdstk.Reference(c_routeb_new_1w1r_8x128_co_____, (7.815,6.79)))
routeb_new_1w1r_8x128_hi.add(gdstk.Reference(c_routeb_new_1w1r_8x128_co_____, (7.015,6.34)))
routeb_new_1w1r_8x128_hi.add(gdstk.Reference(c_routeb_new_1w1r_8x128_co_____, (6.215,8.16)))
routeb_new_1w1r_8x128_hi.add(gdstk.Reference(c_routeb_new_1w1r_8x128_co_____, (6.615,8.72)))
routeb_new_1w1r_8x128_hi.add(gdstk.Reference(c_routeb_new_1w1r_8x128_co_____, (8.215,9.17)))
routeb_new_1w1r_8x128_hi.add(gdstk.Reference(c_routeb_new_1w1r_8x128_co_____, (7.415,11.3)))
routeb_new_1w1r_8x128_hi.add(gdstk.Reference(c_routeb_new_1w1r_8x128_co_____, (6.615,10.74)))
routeb_new_1w1r_8x128_hi.add(gdstk.Reference(c_routeb_new_1w1r_8x128_co_____, (8.215,10.29)))
routeb_new_1w1r_8x128_hi.add(gdstk.Reference(c_routeb_new_1w1r_8x128_co_____, (6.215,12.11)))
routeb_new_1w1r_8x128_hi.add(gdstk.Reference(c_routeb_new_1w1r_8x128_co_____, (7.815,12.67)))
routeb_new_1w1r_8x128_hi.add(gdstk.Reference(c_routeb_new_1w1r_8x128_co_____, (8.215,13.12)))
routeb_new_1w1r_8x128_hi.add(gdstk.Reference(c_routeb_new_1w1r_8x128_co_____, (7.415,15.25)))
routeb_new_1w1r_8x128_hi.add(gdstk.Reference(c_routeb_new_1w1r_8x128_co_____, (7.815,14.69)))
routeb_new_1w1r_8x128_hi.add(gdstk.Reference(c_routeb_new_1w1r_8x128_co_____, (8.215,14.24)))
routeb_new_1w1r_8x128_hi.add(gdstk.Reference(c_routeb_new_1w1r_8x128_co__, (5.765,0.435)))
routeb_new_1w1r_8x128_hi.add(gdstk.Reference(c_routeb_new_1w1r_8x128_co______, (5.75,0.44)))
routeb_new_1w1r_8x128_hi.add(gdstk.Reference(c_routeb_new_1w1r_8x128_co_______, (6.22,1.395)))
routeb_new_1w1r_8x128_hi.add(gdstk.Reference(c_routeb_new_1w1r_8x128_co__, (5.765,3.185)))
routeb_new_1w1r_8x128_hi.add(gdstk.Reference(c_routeb_new_1w1r_8x128_co______, (5.75,3.19)))
routeb_new_1w1r_8x128_hi.add(gdstk.Reference(c_routeb_new_1w1r_8x128_co_______, (6.62,3.37)))
routeb_new_1w1r_8x128_hi.add(gdstk.Reference(c_routeb_new_1w1r_8x128_co__, (5.765,4.385)))
routeb_new_1w1r_8x128_hi.add(gdstk.Reference(c_routeb_new_1w1r_8x128_co______, (5.75,4.39)))
routeb_new_1w1r_8x128_hi.add(gdstk.Reference(c_routeb_new_1w1r_8x128_co_______, (7.02,5.345)))
routeb_new_1w1r_8x128_hi.add(gdstk.Reference(c_routeb_new_1w1r_8x128_co________, (0.305,15.28)))
routeb_new_1w1r_8x128_hi.add(gdstk.Reference(c_routeb_new_1w1r_8x128_co________, (7.415,15.28)))
routeb_new_1w1r_8x128_hi.add(gdstk.Reference(c_routeb_new_1w1r_8x128_co________, (0.705,14.72)))
routeb_new_1w1r_8x128_hi.add(gdstk.Reference(c_routeb_new_1w1r_8x128_co________, (7.815,14.72)))
routeb_new_1w1r_8x128_hi.add(gdstk.Reference(c_routeb_new_1w1r_8x128_co________, (1.105,14.27)))
routeb_new_1w1r_8x128_hi.add(gdstk.Reference(c_routeb_new_1w1r_8x128_co________, (8.215,14.27)))
routeb_new_1w1r_8x128_hi.add(gdstk.Reference(c_routeb_new_1w1r_8x128_co______, (5.01,1.815)))
routeb_new_1w1r_8x128_hi.add(gdstk.Reference(c_routeb_new_1w1r_8x128_co_________, (5.005,1.79)))
routeb_new_1w1r_8x128_hi.add(gdstk.Reference(c_routeb_new_1w1r_8x128_co______, (5.01,3.79)))
routeb_new_1w1r_8x128_hi.add(gdstk.Reference(c_routeb_new_1w1r_8x128_co_________, (5.005,3.765)))
routeb_new_1w1r_8x128_hi.add(gdstk.Reference(c_routeb_new_1w1r_8x128_co______, (14.59,1.93)))
routeb_new_1w1r_8x128_hi.add(gdstk.Reference(c_routeb_new_1w1r_8x128_co_________, (14.585,1.905)))
routeb_new_1w1r_8x128_hi.add(gdstk.Reference(c_routeb_new_1w1r_8x128_co______, (18.68,1.815)))
routeb_new_1w1r_8x128_hi.add(gdstk.Reference(c_routeb_new_1w1r_8x128_co_________, (18.675,1.79)))
routeb_new_1w1r_8x128_hi.add(gdstk.Reference(c_routeb_new_1w1r_8x128_co______, (12.43,1.93)))
routeb_new_1w1r_8x128_hi.add(gdstk.Reference(c_routeb_new_1w1r_8x128_co_________, (12.425,1.905)))
routeb_new_1w1r_8x128_hi.add(gdstk.Reference(c_routeb_new_1w1r_8x128_co______, (14.59,13.78)))
routeb_new_1w1r_8x128_hi.add(gdstk.Reference(c_routeb_new_1w1r_8x128_co_________, (14.585,13.755)))
routeb_new_1w1r_8x128_hi.add(gdstk.Reference(c_routeb_new_1w1r_8x128_co______, (18.68,13.665)))
routeb_new_1w1r_8x128_hi.add(gdstk.Reference(c_routeb_new_1w1r_8x128_co_________, (18.675,13.64)))
routeb_new_1w1r_8x128_hi.add(gdstk.Reference(c_routeb_new_1w1r_8x128_co______, (12.43,13.78)))
routeb_new_1w1r_8x128_hi.add(gdstk.Reference(c_routeb_new_1w1r_8x128_co_________, (12.425,13.755)))
routeb_new_1w1r_8x128_hi.add(gdstk.Reference(c_routeb_new_1w1r_8x128_co______, (2.83,1.815)))
routeb_new_1w1r_8x128_hi.add(gdstk.Reference(c_routeb_new_1w1r_8x128_co_________, (2.825,1.79)))
routeb_new_1w1r_8x128_hi.add(gdstk.Reference(c_routeb_new_1w1r_8x128_co______, (2.83,3.79)))
routeb_new_1w1r_8x128_hi.add(gdstk.Reference(c_routeb_new_1w1r_8x128_co_________, (2.825,3.765)))
routeb_new_1w1r_8x128_hi.add(gdstk.Reference(c_routeb_new_1w1r_8x128_co______, (16.5,1.815)))
routeb_new_1w1r_8x128_hi.add(gdstk.Reference(c_routeb_new_1w1r_8x128_co_________, (16.495,1.79)))
routeb_new_1w1r_8x128_hi.add(gdstk.Reference(c_routeb_new_1w1r_8x128_co______, (10.305,1.93)))
routeb_new_1w1r_8x128_hi.add(gdstk.Reference(c_routeb_new_1w1r_8x128_co_________, (10.3,1.905)))
routeb_new_1w1r_8x128_hi.add(gdstk.Reference(c_routeb_new_1w1r_8x128_co______, (16.5,13.665)))
routeb_new_1w1r_8x128_hi.add(gdstk.Reference(c_routeb_new_1w1r_8x128_co_________, (16.495,13.64)))
routeb_new_1w1r_8x128_hi.add(gdstk.Reference(c_routeb_new_1w1r_8x128_co______, (10.305,13.78)))
routeb_new_1w1r_8x128_hi.add(gdstk.Reference(c_routeb_new_1w1r_8x128_co_________, (10.3,13.755)))
routeb_new_1w1r_8x128_hi.add(gdstk.Label('in_0', (0.47,0.85), layer=68, texttype=5))
routeb_new_1w1r_8x128_hi.add(gdstk.Label('in_1', (0.87,3.1), layer=68, texttype=5))
routeb_new_1w1r_8x128_hi.add(gdstk.Label('in_2', (1.27,4.8), layer=68, texttype=5))
routeb_new_1w1r_8x128_hi.add(gdstk.Label('out_0', (18.038,0.6), layer=67, texttype=5))
routeb_new_1w1r_8x128_hi.add(gdstk.Label('out_1', (18.038,3.35), layer=67, texttype=5))
routeb_new_1w1r_8x128_hi.add(gdstk.Label('out_2', (18.038,4.55), layer=67, texttype=5))
routeb_new_1w1r_8x128_hi.add(gdstk.Label('out_3', (18.038,7.3), layer=67, texttype=5))
routeb_new_1w1r_8x128_hi.add(gdstk.Label('out_4', (18.038,8.5), layer=67, texttype=5))
routeb_new_1w1r_8x128_hi.add(gdstk.Label('out_5', (18.038,11.25), layer=67, texttype=5))
routeb_new_1w1r_8x128_hi.add(gdstk.Label('out_6', (18.038,12.45), layer=67, texttype=5))
routeb_new_1w1r_8x128_hi.add(gdstk.Label('out_7', (18.038,15.2), layer=67, texttype=5))
routeb_new_1w1r_8x128_hi.add(gdstk.Label('vdd', (5.17,3.95), layer=70, texttype=5))
routeb_new_1w1r_8x128_hi.add(gdstk.Label('vdd', (18.84,1.975), layer=70, texttype=5))
routeb_new_1w1r_8x128_hi.add(gdstk.Label('vdd', (12.59,2.09), layer=70, texttype=5))
routeb_new_1w1r_8x128_hi.add(gdstk.Label('vdd', (12.59,13.94), layer=70, texttype=5))
routeb_new_1w1r_8x128_hi.add(gdstk.Label('vdd', (5.17,1.975), layer=70, texttype=5))
routeb_new_1w1r_8x128_hi.add(gdstk.Label('vdd', (14.75,13.94), layer=70, texttype=5))
routeb_new_1w1r_8x128_hi.add(gdstk.Label('vdd', (14.75,2.09), layer=70, texttype=5))
routeb_new_1w1r_8x128_hi.add(gdstk.Label('vdd', (18.84,13.825), layer=70, texttype=5))
routeb_new_1w1r_8x128_hi.add(gdstk.Label('gnd', (2.99,1.975), layer=70, texttype=5))
routeb_new_1w1r_8x128_hi.add(gdstk.Label('gnd', (10.465,2.09), layer=70, texttype=5))
routeb_new_1w1r_8x128_hi.add(gdstk.Label('gnd', (2.99,3.95), layer=70, texttype=5))
routeb_new_1w1r_8x128_hi.add(gdstk.Label('gnd', (10.465,13.94), layer=70, texttype=5))
routeb_new_1w1r_8x128_hi.add(gdstk.Label('gnd', (16.66,1.975), layer=70, texttype=5))
routeb_new_1w1r_8x128_hi.add(gdstk.Label('gnd', (16.66,13.825), layer=70, texttype=5))

lib.write_gds('routeb_new_1w1r_8x128_hierarchical_predecode3x8.gds')
